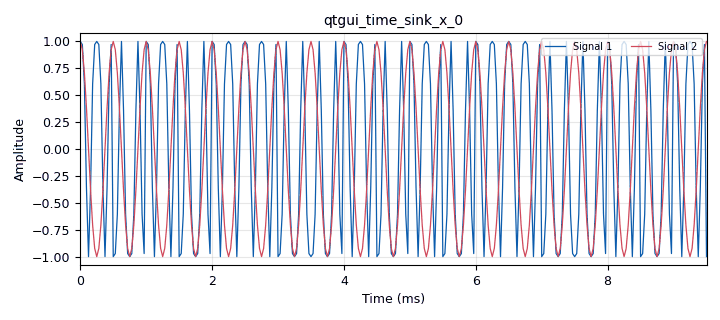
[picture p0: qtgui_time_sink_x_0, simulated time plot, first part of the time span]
options:
  parameters:
    generate_options: qt_gui
    id: BPSK_1
    output_language: python
    title: BPSK_1
  states: {}

blocks:
- name: samp_rate
  id: variable
  parameters:
    value: '32000'
  states: {}
- name: analog_phase_modulator_fc_0
  id: analog_phase_modulator_fc
  parameters:
    sensitivity: math.pi
  states: {}
- name: analog_sig_source_x_0
  id: analog_sig_source_x
  parameters:
    amp: '1'
    freq: '2000'
    offset: '0'
    phase: '0'
    samp_rate: samp_rate
    type: float
    waveform: analog.GR_COS_WAVE
  states: {}
- name: blocks_add_xx_0
  id: blocks_add_xx
  parameters:
    type: float
  states: {}
- name: blocks_complex_to_float_0
  id: blocks_complex_to_float
  parameters: {}
  states: {}
- name: blocks_null_sink_0
  id: blocks_null_sink
  parameters:
    type: float
  states: {}
- name: blocks_repeat_0
  id: blocks_repeat
  parameters:
    interp: '16'
    type: byte
  states: {}
- name: blocks_throttle_0
  id: blocks_throttle
  parameters:
    samples_per_second: samp_rate
    type: byte
  states: {}
- name: blocks_uchar_to_float_0
  id: blocks_uchar_to_float
  parameters: {}
  states: {}
- name: blocks_vector_source_x_0
  id: blocks_vector_source_x
  parameters:
    repeat: 'True'
    type: byte
    vector: (1,1,0,0,1,0,1,0)
  states: {}
- name: digital_constellation_receiver_cb_0
  id: digital_constellation_receiver_cb
  parameters: {}
  states: {}
- name: import_0
  id: import
  parameters:
    imports: import math
  states: {}
- name: qtgui_time_sink_x_0
  id: qtgui_time_sink_x
  parameters:
    ctrlpanel: 'True'
    entags: 'False'
    nconnections: '2'
    size: '1024'
    srate: samp_rate
    type: float
  states: {}

connections:
- [analog_phase_modulator_fc_0, '0', blocks_complex_to_float_0, '0']
- [analog_phase_modulator_fc_0, '0', digital_constellation_receiver_cb_0, '0']
- [analog_sig_source_x_0, '0', blocks_add_xx_0, '1']
- [analog_sig_source_x_0, '0', qtgui_time_sink_x_0, '1']
- [blocks_add_xx_0, '0', analog_phase_modulator_fc_0, '0']
- [blocks_complex_to_float_0, '0', qtgui_time_sink_x_0, '0']
- [blocks_complex_to_float_0, '1', blocks_null_sink_0, '0']
- [blocks_repeat_0, '0', blocks_uchar_to_float_0, '0']
- [blocks_throttle_0, '0', blocks_repeat_0, '0']
- [blocks_uchar_to_float_0, '0', blocks_add_xx_0, '0']
- [blocks_vector_source_x_0, '0', blocks_throttle_0, '0']

metadata:
  file_format: 1
